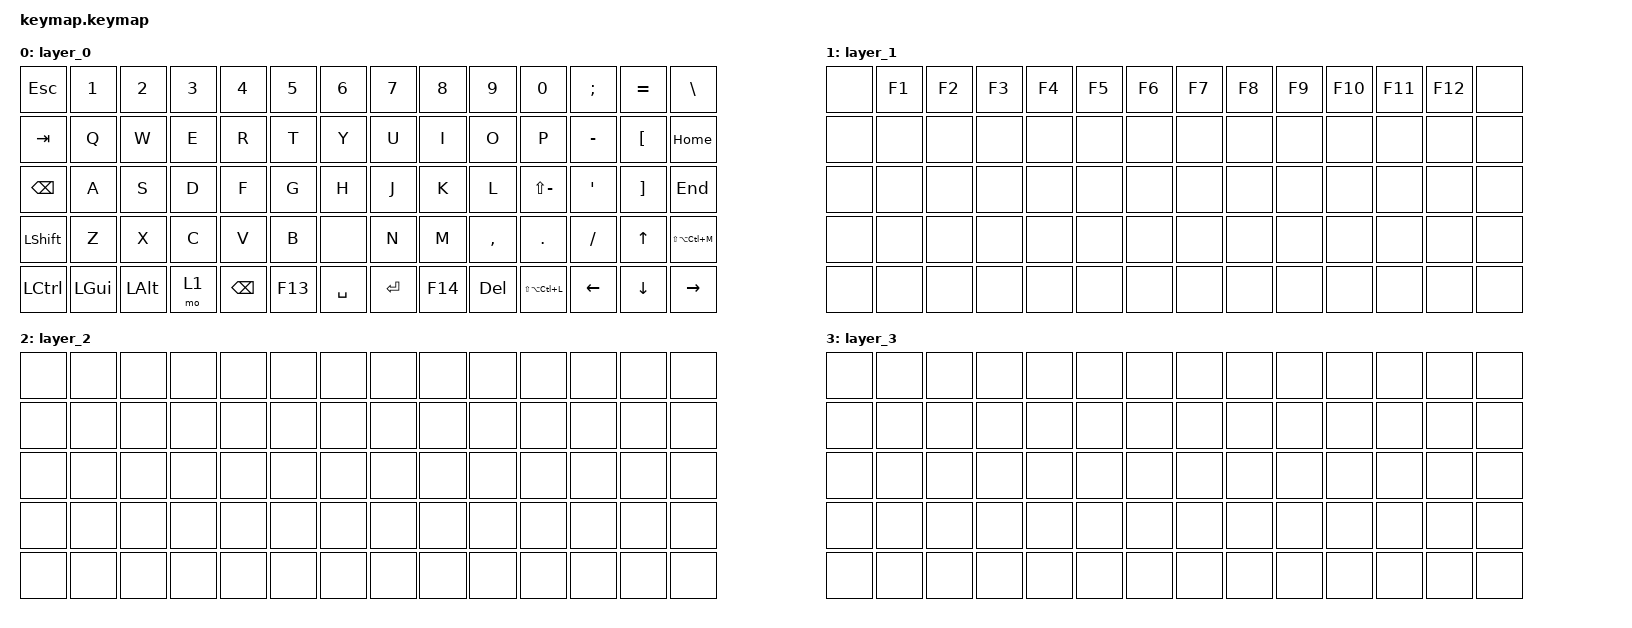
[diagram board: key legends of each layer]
#include <behaviors.dtsi>
#include <dt-bindings/zmk/keys.h>

/ {
    keymap {
        compatible = "zmk,keymap";

        layer_0 {
            bindings = <
&kp ESC    &kp N1    &kp N2    &kp N3  &kp N4         &kp N5   &kp N6     &kp N7     &kp N8   &kp N9     &kp N0             &kp SEMI   &kp EQUAL  &kp BSLH
&kp TAB    &kp Q     &kp W     &kp E   &kp R          &kp T    &kp Y      &kp U      &kp I    &kp O      &kp P              &kp MINUS  &kp LBKT   &kp HOME
&kp BSPC   &kp A     &kp S     &kp D   &kp F          &kp G    &kp H      &kp J      &kp K    &kp L      &kp LS(MINUS)      &kp SQT    &kp RBKT   &kp END
&kp LSHFT  &kp Z     &kp X     &kp C   &kp V          &kp B    &none      &kp N      &kp M    &kp COMMA  &kp DOT            &kp SLASH  &kp UP     &kp LS(LA(LC(M)))
&kp LCTRL  &kp LGUI  &kp LALT  &mo 1   &kp BACKSPACE  &kp F13  &kp SPACE  &kp ENTER  &kp F14  &kp DEL    &kp LS(LA(LC(L)))  &kp LEFT   &kp DOWN   &kp RIGHT
            >;
        };

        layer_1 {
            bindings = <
&none  &kp F1  &kp F2  &kp F3  &kp F4  &kp F5  &kp F6  &kp F7  &kp F8  &kp F9  &kp F10  &kp F11  &kp F12  &none
&none  &none   &none   &none   &none   &none   &none   &none   &none   &none   &none    &none    &none    &none
&none  &none   &none   &none   &none   &none   &none   &none   &none   &none   &none    &none    &none    &none
&none  &none   &none   &none   &none   &none   &none   &none   &none   &none   &none    &none    &none    &none
&none  &none   &none   &none   &none   &none   &none   &none   &none   &none   &none    &none    &none    &none
            >;
        };

        layer_2 {
            bindings = <
&none  &none  &none  &none  &none  &none  &none  &none  &none  &none  &none  &none  &none  &none
&none  &none  &none  &none  &none  &none  &none  &none  &none  &none  &none  &none  &none  &none
&none  &none  &none  &none  &none  &none  &none  &none  &none  &none  &none  &none  &none  &none
&none  &none  &none  &none  &none  &none  &none  &none  &none  &none  &none  &none  &none  &none
&none  &none  &none  &none  &none  &none  &none  &none  &none  &none  &none  &none  &none  &none
            >;
        };

        layer_3 {
            bindings = <
&none  &none  &none  &none  &none  &none  &none  &none  &none  &none  &none  &none  &none  &none
&none  &none  &none  &none  &none  &none  &none  &none  &none  &none  &none  &none  &none  &none
&none  &none  &none  &none  &none  &none  &none  &none  &none  &none  &none  &none  &none  &none
&none  &none  &none  &none  &none  &none  &none  &none  &none  &none  &none  &none  &none  &none
&none  &none  &none  &none  &none  &none  &none  &none  &none  &none  &none  &none  &none  &none
            >;
        };
    };
};
